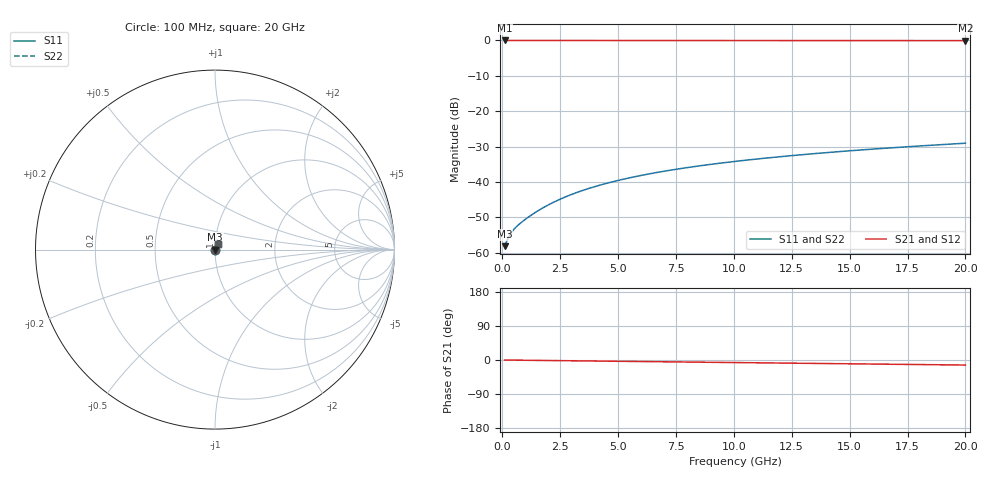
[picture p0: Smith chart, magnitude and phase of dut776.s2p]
! Touchstone file exported from HFSS 2026.1.0
!  File:  C:/ffzhzh/LocalFiles/Ansys_Project_Files/temp_train_TMRDL_776_1783155685_18472.aedt
!  Generated:  05:02:36 PM Jul  4, 2026
!  Design:  TMRDL
!  Project:  temp_train_TMRDL_776_1783155685_18472
! Variables:
!  h_bsmrdl = 2um
!  h_ox = 20um
!  h_rdl = 5um
!  h_sub = 80um
!  h_tmrdl = 3.21um
!  h_tsv = 80um
!  h_via = 3um
!  l_bsmrdl = 300um
!  l_sub = 617.69um
!  l_tmrdl = 217.69um
!  m_sub = 200um
!  pitch = 33.65um
!  r_tsv = 6um
!  s_tmrdl = 10um
!  w_bsmrdl = 18um
!  w_sub = 500um
!  w_tmrdl = 27.5um
!  x_tsv_center1 = 231.44um
!  x_tsv_center2 = 549.44um
!  x_tsv_center3 = 794.63um
!  x_tsv_center4 = 1112.63um
!  x_tsv_center5 = 1357.82um
!  x_tsv_center6 = 1675.82um
# GHz S MA R 50.000000
! Terminal data exported
! Port[1] = TM_RDL1_1_T1
! Port[2] = TM_RDL1_1_T2
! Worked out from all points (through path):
!   200 points, 100 MHz to 20 GHz, reference 50 ohm
!   highest |S21| = -0.01 dB at 100 MHz (marker M1); lowest = -0.1 dB at 20 GHz (marker M2)
!   group delay of S21, straight-line fit = 1.85 ps
!   lowest |S11| = -58.1 dB at 100 MHz (marker M3), VSWR 1.00, Z = 50.1 + j0.0392 ohm
!   |S11| at or under -10 dB: start of sweep to end of sweep
!   |S22| runs from -58.1 to -29.0 dB; largest |S21 - S12| = 3.1e-15
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0.1  0.001239 18.4  0.9988 -0.1  0.9988 -0.1  0.001239 18.4
! Gamma 0 0 0 0
! Port Impedance 50 0 50 0
0.2  0.001479 29.3  0.9987 -0.2  0.9987 -0.2  0.001479 29.3
0.3  0.001728 34.9  0.9986 -0.2  0.9986 -0.2  0.001728 34.9
0.4  0.001948 38.4  0.9985 -0.3  0.9985 -0.3  0.001948 38.4
0.5  0.002141 41.0  0.9984 -0.4  0.9984 -0.4  0.002141 41.0
0.7  0.002484 45.6  0.9983 -0.5  0.9983 -0.5  0.002484 45.6
1.1  0.003146 53.3  0.9981 -0.8  0.9981 -0.8  0.003146 53.3
1.6  0.004026 60.0  0.998 -1.1  0.998 -1.1  0.004026 60.0
1.9  0.004579 62.8  0.998 -1.3  0.998 -1.3  0.004579 62.8
2.2  0.005145 64.9  0.9979 -1.5  0.9979 -1.5  0.005145 64.9
2.8  0.006295 67.8  0.9978 -1.9  0.9978 -1.9  0.006295 67.8
3.5  0.007648 69.8  0.9976 -2.4  0.9976 -2.4  0.007648 69.8
4.2  0.008995 70.9  0.9974 -2.9  0.9974 -2.9  0.008995 70.9
5  0.01052 71.5  0.9972 -3.4  0.9972 -3.4  0.01052 71.5
5.9  0.0122 71.8  0.9969 -4.0  0.9969 -4.0  0.0122 71.8
6.8  0.01385 71.8  0.9966 -4.6  0.9966 -4.6  0.01385 71.8
8.3  0.01652 71.4  0.9962 -5.6  0.9962 -5.6  0.01652 71.4
10.1  0.01961 70.8  0.9956 -6.8  0.9956 -6.8  0.01961 70.8
11.7  0.02227 70.1  0.9951 -7.9  0.9951 -7.9  0.02227 70.1
13.4  0.02503 69.3  0.9946 -9.0  0.9946 -9.0  0.02503 69.3
16.7  0.03023 67.8  0.9938 -11.2  0.9938 -11.2  0.03023 67.8
20  0.03529 66.3  0.993 -13.3  0.993 -13.3  0.03529 66.2
